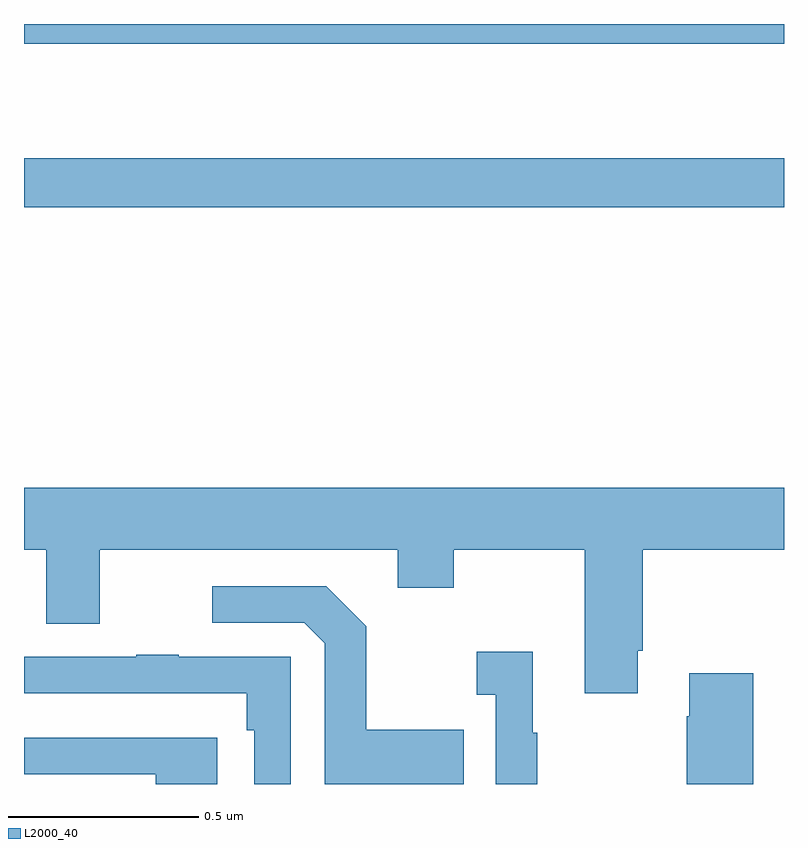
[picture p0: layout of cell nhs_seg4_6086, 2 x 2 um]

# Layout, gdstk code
import gdstk
lib = gdstk.Library(unit=1e-6, precision=1e-09)
def R(c, l, rs):  # rectangles x0, y0, x1, y1
    for r in rs: c.add(gdstk.rectangle(r[:2], r[2:], *l))
def P(c, l, *ps):  # polygons
    for p in ps: c.add(gdstk.Polygon(p, *l))
L2000_40 = (2000, 40)

nhs_seg4_6086 = lib.new_cell('nhs_seg4_6086')
R(nhs_seg4_6086, L2000_40, [(186,768.418,188,768.547), (186,768.848,188,768.9)])
P(nhs_seg4_6086, L2000_40, [(187.615,767.251),(187.628,767.251),(187.628,767.516),(188,767.516),(188,767.68),(186,767.68),(186,767.516),(186.059,767.516),(186.059,767.322),(186.199,767.322),(186.199,767.516),(186.983,767.516),(186.983,767.417),(187.131,767.417),(187.131,767.516),(187.475,767.516),(187.475,767.139),(187.615,767.139)],
  [(187.157,767.043),(186.901,767.043),(186.901,767.315),(186.795,767.421),(186.495,767.421),(186.495,767.325),(186.738,767.325),(186.792,767.271),(186.792,766.9),(187.157,766.9)],
  [(187.351,767.035),(187.339,767.035),(187.339,767.248),(187.191,767.248),(187.191,767.135),(187.242,767.135),(187.242,766.9),(187.351,766.9)],
  [(186.702,767.235),(186.407,767.235),(186.407,767.24),(186.295,767.24),(186.295,767.235),(186,767.235),(186,767.139),(186.586,767.139),(186.586,767.042),(186.606,767.042),(186.606,766.9),(186.702,766.9)],
  [(187.919,767.191),(187.751,767.191),(187.751,767.078),(187.744,767.078),(187.744,766.9),(187.919,766.9)],
  [(186.508,767.022),(186,767.022),(186,766.926),(186.347,766.926),(186.347,766.9),(186.508,766.9)])

lib.write_gds('nhs_seg4_6086.gds')
